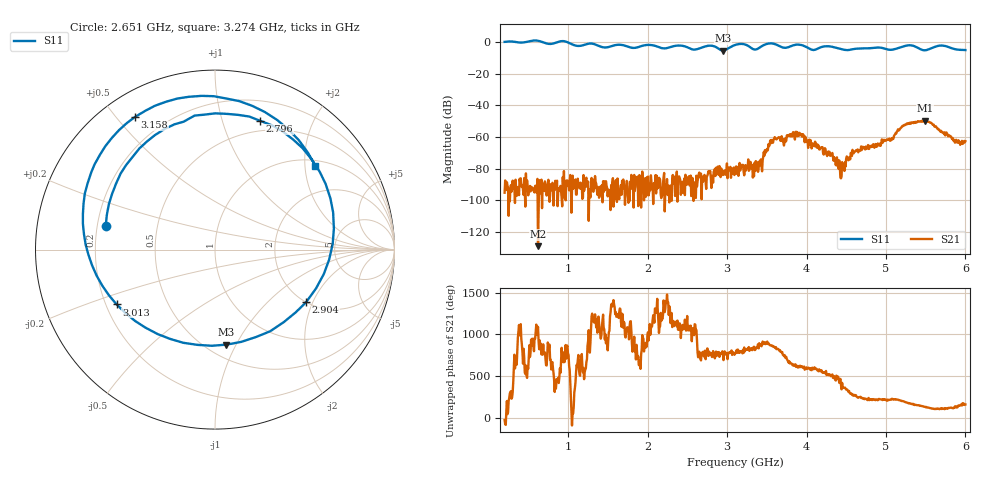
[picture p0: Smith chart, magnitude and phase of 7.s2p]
! NanoVNA-App
! Date: 2024-06-25 16:10:50
! Start: 200MHz Stop: 6GHz Points: 801
! S-Parameter data: F S11 S21 S12 S22
# Hz S RI R 50
!  Frequency  S11_Real  S11_Imag  S21_Real  S21_Imag  S12_Real  S12_Imag  S22_Real  S22_Imag
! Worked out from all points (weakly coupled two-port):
!   801 points, 200 MHz to 6 GHz, reference 50 ohm
!   highest |S21| = -49.67 dB at 5.492 GHz (marker M1); lowest = -129.0 dB at 620.5 MHz (marker M2)
!   lowest |S11| = -5.5 dB at 2.948 GHz (marker M3), VSWR 3.29, Z = 30.9 - j45.8 ohm
!   |S11| at or under -10 dB: nowhere
!   S12 and S22 are empty: the file has one direction only
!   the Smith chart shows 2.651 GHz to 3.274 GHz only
!   S11 on the Smith chart (normalised r, x): 2.651 GHz: 0.23, +0.10; 2.796 GHz: 0.39, +1.34; 2.904 GHz: 2.00, -1.78; 3.013 GHz: 0.24, -0.25; 3.158 GHz: 0.10, +0.56; 3.274 GHz: 1.13, +2.26
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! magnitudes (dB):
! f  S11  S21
! 200 MHz  0.0  -95.2
! 620.5 MHz  0.8  -129.0
! 1.171 GHz  -2.3  -90.8
! 2.136 GHz  -3.1  -91.9
! 2.651 GHz  -4.1  -82.5
! 2.796 GHz  -2.4  -85.9
! 2.904 GHz  -4.6  -78.4
! 2.948 GHz  -5.5  -84.1
! 3.013 GHz  -4.0  -79.3
! 3.1 GHz  -1.9  -82.2
! 3.158 GHz  -1.3  -76.4
! 3.274 GHz  -2.7  -81.4
! 3.419 GHz  -3.3  -77.9
! 3.615 GHz  -1.6  -61.3
! 3.89 GHz  -1.7  -57.3
! 4.072 GHz  -5.0  -65.9
! 4.449 GHz  -4.7  -75.9
! 4.608 GHz  -4.4  -69.3
! 5.036 GHz  -4.9  -61.4
! 5.231 GHz  -2.6  -52.4
! 5.492 GHz  -5.3  -49.7
! 6 GHz  -5.1  -62.7
